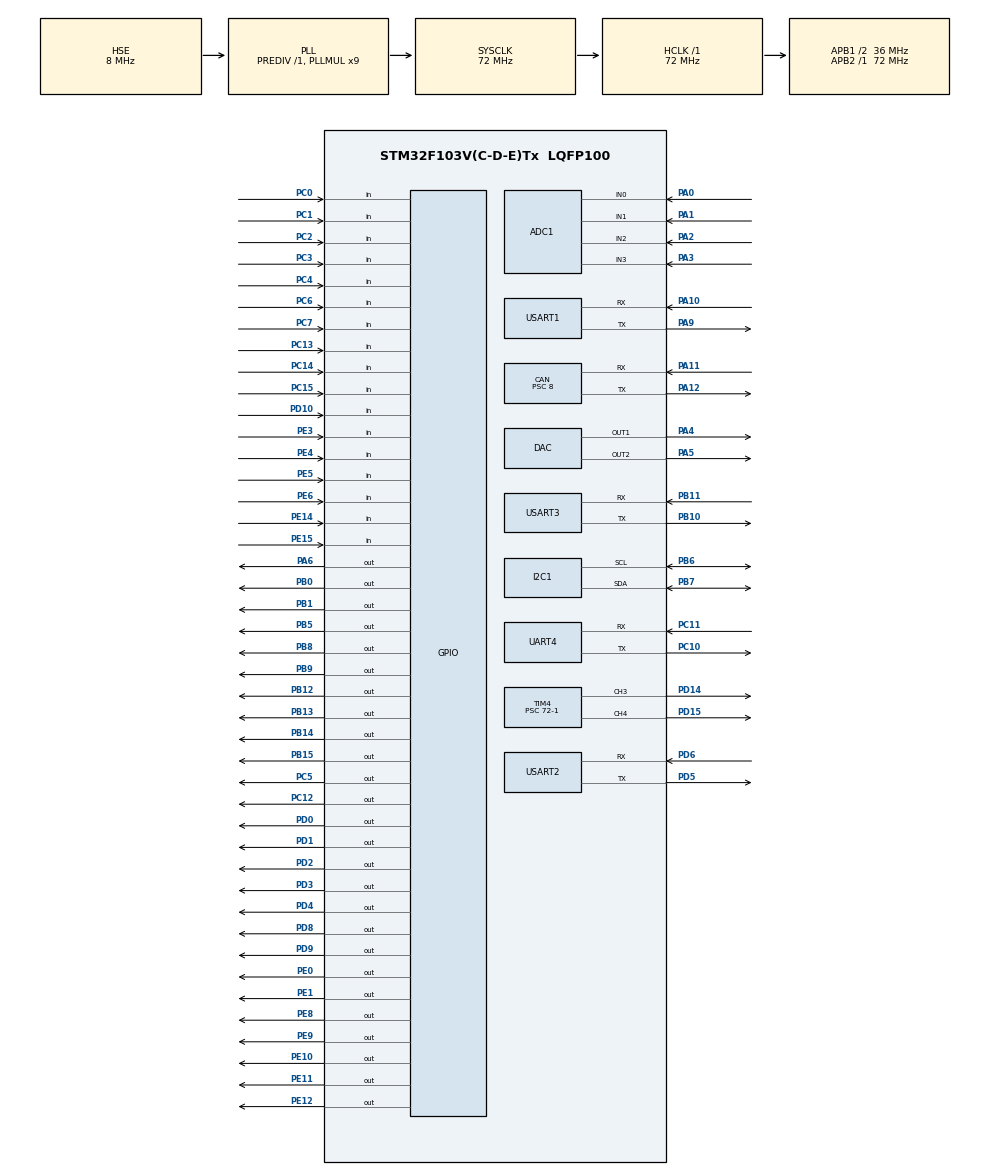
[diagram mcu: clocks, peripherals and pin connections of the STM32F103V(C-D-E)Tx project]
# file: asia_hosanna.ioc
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ADC1.Channel-1\#ChannelRegularConversion=ADC_CHANNEL_0
ADC1.Channel-2\#ChannelRegularConversion=ADC_CHANNEL_1
ADC1.Channel-3\#ChannelRegularConversion=ADC_CHANNEL_2
ADC1.Channel-4\#ChannelRegularConversion=ADC_CHANNEL_3
ADC1.ContinuousConvMode=ENABLE
ADC1.NbrOfConversion=4
ADC1.NbrOfConversionFlag=1
ADC1.Rank-1\#ChannelRegularConversion=1
ADC1.Rank-2\#ChannelRegularConversion=2
ADC1.Rank-3\#ChannelRegularConversion=3
ADC1.Rank-4\#ChannelRegularConversion=4
ADC1.SamplingTime-1\#ChannelRegularConversion=ADC_SAMPLETIME_55CYCLES_5
ADC1.SamplingTime-2\#ChannelRegularConversion=ADC_SAMPLETIME_55CYCLES_5
ADC1.SamplingTime-3\#ChannelRegularConversion=ADC_SAMPLETIME_55CYCLES_5
ADC1.SamplingTime-4\#ChannelRegularConversion=ADC_SAMPLETIME_55CYCLES_5
ADC1.master=1
CAN.ABOM=ENABLE
CAN.BS1=CAN_BS1_3TQ
CAN.BS2=CAN_BS2_5TQ
CAN.CalculateBaudRate=500000
CAN.CalculateTimeBit=2000
CAN.CalculateTimeQuantum=222.22222222222223
CAN.NART=ENABLE
CAN.Prescaler=8
Dma.ADC1.4.Direction=DMA_PERIPH_TO_MEMORY
Dma.ADC1.4.Instance=DMA1_Channel1
Dma.ADC1.4.MemDataAlignment=DMA_MDATAALIGN_HALFWORD
Dma.ADC1.4.MemInc=DMA_MINC_ENABLE
Dma.ADC1.4.Mode=DMA_CIRCULAR
Dma.ADC1.4.PeriphDataAlignment=DMA_PDATAALIGN_HALFWORD
Dma.ADC1.4.PeriphInc=DMA_PINC_DISABLE
Dma.ADC1.4.Priority=DMA_PRIORITY_LOW
Dma.Request0=USART3_RX
Dma.Request1=USART2_RX
Dma.Request2=USART1_RX
Dma.Request3=UART4_RX
Dma.Request4=ADC1
Dma.UART4_RX.3.Direction=DMA_PERIPH_TO_MEMORY
Dma.UART4_RX.3.Instance=DMA2_Channel3
Dma.UART4_RX.3.MemDataAlignment=DMA_MDATAALIGN_BYTE
Dma.UART4_RX.3.MemInc=DMA_MINC_ENABLE
Dma.UART4_RX.3.Mode=DMA_CIRCULAR
Dma.UART4_RX.3.PeriphDataAlignment=DMA_PDATAALIGN_BYTE
Dma.UART4_RX.3.PeriphInc=DMA_PINC_DISABLE
Dma.UART4_RX.3.Priority=DMA_PRIORITY_LOW
Dma.USART1_RX.2.Direction=DMA_PERIPH_TO_MEMORY
Dma.USART1_RX.2.Instance=DMA1_Channel5
Dma.USART1_RX.2.MemDataAlignment=DMA_MDATAALIGN_BYTE
Dma.USART1_RX.2.MemInc=DMA_MINC_ENABLE
Dma.USART1_RX.2.Mode=DMA_CIRCULAR
Dma.USART1_RX.2.PeriphDataAlignment=DMA_PDATAALIGN_BYTE
Dma.USART1_RX.2.PeriphInc=DMA_PINC_DISABLE
Dma.USART1_RX.2.Priority=DMA_PRIORITY_LOW
Dma.USART2_RX.1.Direction=DMA_PERIPH_TO_MEMORY
Dma.USART2_RX.1.Instance=DMA1_Channel6
Dma.USART2_RX.1.MemDataAlignment=DMA_MDATAALIGN_BYTE
Dma.USART2_RX.1.MemInc=DMA_MINC_ENABLE
Dma.USART2_RX.1.Mode=DMA_CIRCULAR
Dma.USART2_RX.1.PeriphDataAlignment=DMA_PDATAALIGN_BYTE
Dma.USART2_RX.1.PeriphInc=DMA_PINC_DISABLE
Dma.USART2_RX.1.Priority=DMA_PRIORITY_LOW
Dma.USART3_RX.0.Direction=DMA_PERIPH_TO_MEMORY
Dma.USART3_RX.0.Instance=DMA1_Channel3
Dma.USART3_RX.0.MemDataAlignment=DMA_MDATAALIGN_BYTE
Dma.USART3_RX.0.MemInc=DMA_MINC_ENABLE
Dma.USART3_RX.0.Mode=DMA_CIRCULAR
Dma.USART3_RX.0.PeriphDataAlignment=DMA_PDATAALIGN_BYTE
Dma.USART3_RX.0.PeriphInc=DMA_PINC_DISABLE
Dma.USART3_RX.0.Priority=DMA_PRIORITY_LOW
Mcu.Family=STM32F1
Mcu.Name=STM32F103V(C-D-E)Tx
Mcu.Package=LQFP100
NVIC.CAN1_RX1_IRQn=true\:0\:0\:false\:false\:true\:true\:true\:true
NVIC.CAN1_SCE_IRQn=true\:0\:0\:false\:false\:true\:true\:true\:true
NVIC.DMA1_Channel1_IRQn=true\:0\:0\:false\:false\:true\:false\:true\:true
NVIC.DMA1_Channel3_IRQn=true\:0\:0\:false\:false\:true\:false\:true\:true
NVIC.DMA1_Channel5_IRQn=true\:0\:0\:false\:false\:true\:false\:true\:true
NVIC.DMA1_Channel6_IRQn=true\:0\:0\:false\:false\:true\:false\:true\:true
NVIC.DMA2_Channel3_IRQn=true\:0\:0\:false\:false\:true\:false\:true\:true
NVIC.PriorityGroup=NVIC_PRIORITYGROUP_4
NVIC.TIM3_IRQn=true\:0\:0\:false\:false\:true\:true\:true\:true
NVIC.TIM4_IRQn=true\:0\:0\:false\:false\:true\:true\:true\:true
NVIC.UART4_IRQn=true\:0\:0\:false\:false\:true\:true\:true\:true
NVIC.USART1_IRQn=true\:0\:0\:false\:false\:true\:true\:true\:true
NVIC.USART2_IRQn=true\:0\:0\:false\:false\:true\:true\:true\:true
NVIC.USART3_IRQn=true\:0\:0\:false\:false\:true\:true\:true\:true
NVIC.USB_HP_CAN1_TX_IRQn=true\:0\:0\:false\:false\:true\:true\:true\:true
NVIC.USB_LP_CAN1_RX0_IRQn=true\:0\:0\:false\:false\:true\:true\:true\:true
OSC_IN.Mode=HSE-External-Oscillator
OSC_IN.Signal=RCC_OSC_IN
OSC_OUT.Mode=HSE-External-Oscillator
OSC_OUT.Signal=RCC_OSC_OUT
PA0-WKUP.Signal=ADCx_IN0
PA1.Signal=ADCx_IN1
PA10.Mode=Asynchronous
PA10.Signal=USART1_RX
PA11.Mode=CAN_Activate
PA11.Signal=CAN_RX
PA12.Mode=CAN_Activate
PA12.Signal=CAN_TX
PA13.Mode=Serial_Wire
PA13.Signal=SYS_JTMS-SWDIO
PA14.Mode=Serial_Wire
PA14.Signal=SYS_JTCK-SWCLK
PA2.Signal=ADCx_IN2
PA3.Signal=ADCx_IN3
PA4.Signal=COMP_DAC1_group
PA5.Signal=COMP_DAC2_group
PA6.Signal=GPIO_Output
PA9.Mode=Asynchronous
PA9.Signal=USART1_TX
PB0.Signal=GPIO_Output
PB1.Signal=GPIO_Output
PB10.Mode=Asynchronous
PB10.Signal=USART3_TX
PB11.Mode=Asynchronous
PB11.Signal=USART3_RX
PB12.Signal=GPIO_Output
PB13.Signal=GPIO_Output
PB14.Signal=GPIO_Output
PB15.Signal=GPIO_Output
PB5.Signal=GPIO_Output
PB6.Mode=I2C
PB6.Signal=I2C1_SCL
PB7.Mode=I2C
PB7.Signal=I2C1_SDA
PB8.Signal=GPIO_Output
PB9.Signal=GPIO_Output
PC0.Signal=GPIO_Input
PC1.Signal=GPIO_Input
PC10.Mode=Asynchronous
PC10.Signal=UART4_TX
PC11.Mode=Asynchronous
PC11.Signal=UART4_RX
PC12.Signal=GPIO_Output
PC13-TAMPER-RTC.Signal=GPIO_Input
PC14-OSC32_IN.Signal=GPIO_Input
PC15-OSC32_OUT.Signal=GPIO_Input
PC2.Signal=GPIO_Input
PC3.Signal=GPIO_Input
PC4.Signal=GPIO_Input
PC5.Signal=GPIO_Output
PC6.Signal=GPIO_Input
PC7.Signal=GPIO_Input
PD0.Signal=GPIO_Output
PD1.Signal=GPIO_Output
PD10.Signal=GPIO_Input
PD14.Signal=S_TIM4_CH3
PD15.Signal=S_TIM4_CH4
PD2.Signal=GPIO_Output
PD3.Signal=GPIO_Output
PD4.Signal=GPIO_Output
PD5.Mode=Asynchronous
PD5.Signal=USART2_TX
PD6.Mode=Asynchronous
PD6.Signal=USART2_RX
PD8.Signal=GPIO_Output
PD9.Signal=GPIO_Output
PE0.Signal=GPIO_Output
PE1.Signal=GPIO_Output
PE10.Signal=GPIO_Output
PE11.Signal=GPIO_Output
PE12.Signal=GPIO_Output
PE14.Signal=GPIO_Input
PE15.Signal=GPIO_Input
PE3.Signal=GPIO_Input
PE4.Signal=GPIO_Input
PE5.Signal=GPIO_Input
PE6.Signal=GPIO_Input
PE8.Signal=GPIO_Output
PE9.Signal=GPIO_Output
ProjectManager.HeapSize=0x200
ProjectManager.StackSize=0x400
ProjectManager.TargetToolchain=STM32CubeIDE
RCC.ADCPresc=RCC_ADCPCLK2_DIV6
RCC.AHBFreq_Value=72000000
RCC.APB1CLKDivider=RCC_HCLK_DIV2
RCC.APB1Freq_Value=36000000
RCC.APB1TimFreq_Value=72000000
RCC.APB2Freq_Value=72000000
RCC.APB2TimFreq_Value=72000000
RCC.HCLKFreq_Value=72000000
RCC.PLLMUL=RCC_PLL_MUL9
RCC.PLLSourceVirtual=RCC_PLLSOURCE_HSE
RCC.SYSCLKFreq_VALUE=72000000
RCC.SYSCLKSource=RCC_SYSCLKSOURCE_PLLCLK
RCC.USBFreq_Value=72000000
SH.ADCx_IN0.0=ADC1_IN0,IN0
SH.ADCx_IN1.0=ADC1_IN1,IN1
SH.ADCx_IN2.0=ADC1_IN2,IN2
SH.ADCx_IN3.0=ADC1_IN3,IN3
SH.COMP_DAC1_group.0=DAC_OUT1,DAC_OUT1
SH.COMP_DAC2_group.0=DAC_OUT2,DAC_OUT2
SH.S_TIM4_CH3.0=TIM4_CH3,PWM Generation3 CH3
SH.S_TIM4_CH4.0=TIM4_CH4,PWM Generation4 CH4
TIM3.Period=100-1
TIM3.Prescaler=720-1
TIM4.Channel-PWM\ Generation3\ CH3=TIM_CHANNEL_3
TIM4.Channel-PWM\ Generation4\ CH4=TIM_CHANNEL_4
TIM4.Period=1000-1
TIM4.Prescaler=72-1
TIM4.Pulse-PWM\ Generation3\ CH3=500
TIM4.Pulse-PWM\ Generation4\ CH4=500
UART4.VirtualMode=Asynchronous
USART1.VirtualMode=VM_ASYNC
USART2.VirtualMode=VM_ASYNC
USART3.VirtualMode=VM_ASYNC
VP_TIM3_VS_ClockSourceINT.Mode=Internal
VP_TIM4_VS_ClockSourceINT.Mode=Internal
board=custom

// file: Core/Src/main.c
/* USER CODE BEGIN Header */
/**
  ******************************************************************************
  * @file           : main.c
  * @brief          : Main program body
  ******************************************************************************
  * @attention
  *
  * Copyright (c) 2023 STMicroelectronics.
  * All rights reserved.
  *
  * This software is licensed under terms that can be found in the LICENSE file
  * in the root directory of this software component.
  * If no LICENSE file comes with this software, it is provided AS-IS.
  *
  ******************************************************************************
  */
/* USER CODE END Header */
#include "main.h"
#include "adc.h"
#include "can.h"
#include "dac.h"
#include "dma.h"
#include "i2c.h"
#include "tim.h"
#include "usart.h"
#include "gpio.h"

/* USER CODE BEGIN Includes */
#include "def.h"
#include "define.h"
#include "keyscan.h"
#include "bsp_uart.h"
#include "task.h"
#include "cli.h"
#include "indicate.h"
#include "motor.h"
#include "bsp_adc.h"
#include "hw_config.h"
#include "debug.h"
#include "at24_eep.h"
/* USER CODE END Includes */

void SystemClock_Config(void);

int main(void)
{

  /* MCU Configuration--------------------------------------------------------*/

  /* Reset of all peripherals, Initializes the Flash interface and the Systick. */

	HAL_Init();

  /* Configure the system clock */
  SystemClock_Config();

  /* Initialize all configured peripherals */
 //MX_GPIO_Init();
  GPIO_Configuration();
  MX_DMA_Init();
  MX_CAN_Init();
  MX_DAC_Init();
  MX_I2C1_Init();
  MX_TIM4_Init();
  MX_UART4_Init();
  MX_USART1_UART_Init();
  MX_USART2_UART_Init();
  MX_USART3_UART_Init();
  MX_TIM3_Init();
  MX_ADC1_Init();
  /* USER CODE BEGIN 2 */
  bsp_can_init();
  cliInit();
  uartInit();
  uartOpen(_DEF_UART2, 115200);  // UART
  cliOpen(_DEF_UART2, 115200);
  bsp_adc_init();

  HAL_GPIO_WritePin(GPIOB, GPIO_I2C_WP, GPIO_PIN_RESET);
  init_set_read();

  HAL_DAC_Start(&hdac, DAC_CHANNEL_1);
  HAL_DAC_Start(&hdac, DAC_CHANNEL_2);
  HAL_DAC_SetValue(&hdac, DAC_CHANNEL_1, DAC_ALIGN_8B_R, 0);
  HAL_DAC_SetValue(&hdac, DAC_CHANNEL_2, DAC_ALIGN_8B_R, 0);

  HAL_TIM_Base_Start_IT (&htim3); // 1ms
  HAL_TIM_Base_Start_IT (&htim4); // PWM OUT PUT
  HAL_TIM_PWM_Start(&htim4, TIM_CHANNEL_4);
  HAL_TIM_PWM_Start(&htim4, TIM_CHANNEL_3);

  Var_Init();
  init_set();
  Init_DrvPortSet();
  HAL_Delay(300);
  INIT_Check();

  u16_RFMNChkCnt = 2000;			/* 약 1000ms 동안 RFR Main 신호가 없으면 All Motor Stop */
  u32_SysRunTime = 0;
  CAN_RcvCount = 0;
  canDTIntime = 2000;
  u2DTInTime = 2000;
  crash_Cnt = 50;

  /* USER CODE END 2 */
  cliPrintf(">> SYS_ON \r\n");
  /* USER CODE BEGIN WHILE */
  while (1)
  {

    User_Interface();
    Motor_Control();
    Timer_Event();
    Comm_Check();
    cliMain();

    /* USER CODE END WHILE */
  }
}

void SystemClock_Config(void)
{
  RCC_OscInitTypeDef RCC_OscInitStruct = {0};
  RCC_ClkInitTypeDef RCC_ClkInitStruct = {0};
  RCC_PeriphCLKInitTypeDef PeriphClkInit = {0};

  /** Initializes the RCC Oscillators according to the specified parameters
  * in the RCC_OscInitTypeDef structure.
  */
  RCC_OscInitStruct.OscillatorType = RCC_OSCILLATORTYPE_HSE;
  RCC_OscInitStruct.HSEState = RCC_HSE_ON;
  RCC_OscInitStruct.HSEPredivValue = RCC_HSE_PREDIV_DIV1;
  RCC_OscInitStruct.HSIState = RCC_HSI_ON;
  RCC_OscInitStruct.PLL.PLLState = RCC_PLL_ON;
  RCC_OscInitStruct.PLL.PLLSource = RCC_PLLSOURCE_HSE;
  RCC_OscInitStruct.PLL.PLLMUL = RCC_PLL_MUL9;
  if (HAL_RCC_OscConfig(&RCC_OscInitStruct) != HAL_OK)
  {
    Error_Handler();
  }

  /** Initializes the CPU, AHB and APB buses clocks
  */
  RCC_ClkInitStruct.ClockType = RCC_CLOCKTYPE_HCLK|RCC_CLOCKTYPE_SYSCLK
                              |RCC_CLOCKTYPE_PCLK1|RCC_CLOCKTYPE_PCLK2;
  RCC_ClkInitStruct.SYSCLKSource = RCC_SYSCLKSOURCE_PLLCLK;
  RCC_ClkInitStruct.AHBCLKDivider = RCC_SYSCLK_DIV1;
  RCC_ClkInitStruct.APB1CLKDivider = RCC_HCLK_DIV2;
  RCC_ClkInitStruct.APB2CLKDivider = RCC_HCLK_DIV1;

  if (HAL_RCC_ClockConfig(&RCC_ClkInitStruct, FLASH_LATENCY_2) != HAL_OK)
  {
    Error_Handler();
  }
  PeriphClkInit.PeriphClockSelection = RCC_PERIPHCLK_ADC;
  PeriphClkInit.AdcClockSelection = RCC_ADCPCLK2_DIV6;
  if (HAL_RCCEx_PeriphCLKConfig(&PeriphClkInit) != HAL_OK)
  {
    Error_Handler();
  }
}

void Error_Handler(void)
{
  __disable_irq();
  while (1)
  {
  }
}
